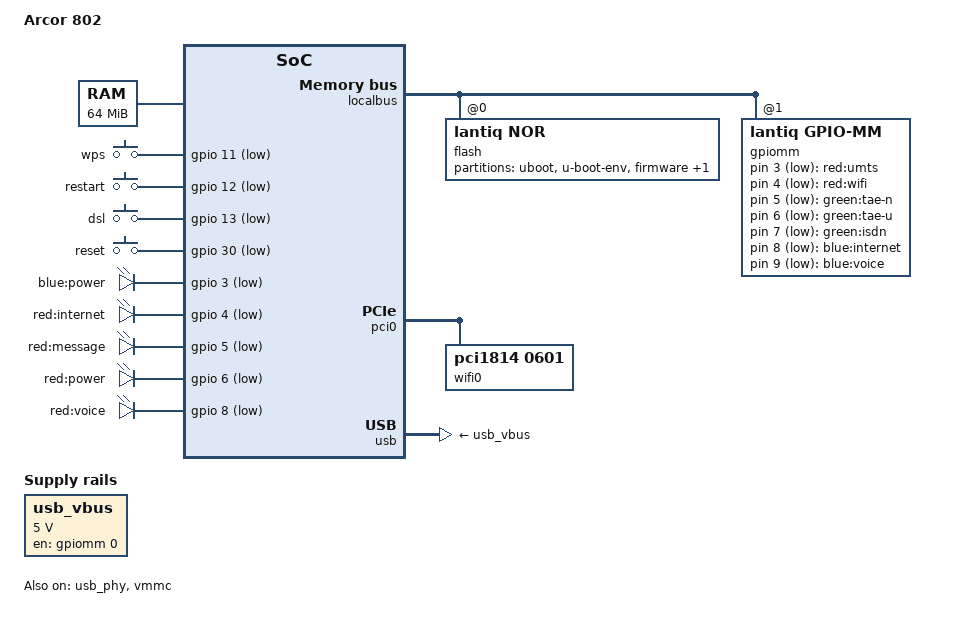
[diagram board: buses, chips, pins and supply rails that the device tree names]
#include "danube.dtsi"

#include <dt-bindings/input/input.h>

/ {
	compatible = "arcadyan,arv752dpw", "lantiq,xway", "lantiq,danube";
	model = "Arcor 802";

	chosen {
		bootargs = "console=ttyLTQ0,115200";
	};

	aliases {
		led-boot = &power_red;
		led-failsafe = &power_blue;
		led-running = &power_red;
		led-upgrade = &power_red;

		led-dsl = &internet_red;
		led-usb = &umts;
		led-wifi = &wifi;

		label-mac-device = &wifi0;
	};

	memory@0 {
		device_type = "memory";
		reg = <0x0 0x4000000>;
	};

	keys {
		compatible = "gpio-keys-polled";
		poll-interval = <100>;

		wps {
			label = "wps";
			gpios = <&gpio 11 GPIO_ACTIVE_LOW>;
			linux,code = <KEY_WPS_BUTTON>;
		};
		restart {
			label = "restart";
			gpios = <&gpio 12 GPIO_ACTIVE_LOW>;
			linux,code = <KEY_POWER>;
		};
		dsl {
			label = "dsl";
			gpios = <&gpio 13 GPIO_ACTIVE_LOW>;
			linux,code = <BTN_0>;
		};
		reset {
			label = "reset";
			gpios = <&gpio 30 GPIO_ACTIVE_LOW>;
			linux,code = <KEY_RESTART>;
		};
	};

	leds {
		compatible = "gpio-leds";
		power_blue: power1 {
			label = "blue:power";
			gpios = <&gpio 3 GPIO_ACTIVE_LOW>;
		};
		internet_red: internet {
			label = "red:internet";
			gpios = <&gpio 4 GPIO_ACTIVE_LOW>;
		};
		message {
			label = "red:message";
			gpios = <&gpio 5 GPIO_ACTIVE_LOW>;
		};
		power_red: power {
			label = "red:power";
			gpios = <&gpio 6 GPIO_ACTIVE_LOW>;
			default-state = "keep";
		};
		voice1 {
			label = "red:voice";
			gpios = <&gpio 8 GPIO_ACTIVE_LOW>;
		};
		umts: umts {
			label = "red:umts";
			gpios = <&gpiomm 3 GPIO_ACTIVE_LOW>;
		};
		wifi: wifi {
			label = "red:wifi";
			gpios = <&gpiomm 4 GPIO_ACTIVE_LOW>;
		};
		fxs1 {
			label = "green:tae-n";
			gpios = <&gpiomm 5 GPIO_ACTIVE_LOW>;
		};
		fxs2 {
			label = "green:tae-u";
			gpios = <&gpiomm 6 GPIO_ACTIVE_LOW>;
		};
		fxo {
			label = "green:isdn";
			gpios = <&gpiomm 7 GPIO_ACTIVE_LOW>;
		};
		internet2 {
			label = "blue:internet";
			gpios = <&gpiomm 8 GPIO_ACTIVE_LOW>;
		};
		voice2 {
			label = "blue:voice";
			gpios = <&gpiomm 9 GPIO_ACTIVE_LOW>;
		};
	};

	usb_vbus: regulator-usb-vbus {
		compatible = "regulator-fixed";

		regulator-name = "USB_VBUS";

		regulator-min-microvolt = <5000000>;
		regulator-max-microvolt = <5000000>;

		gpio = <&gpiomm 0 GPIO_ACTIVE_HIGH>;
		enable-active-high;
	};
};

&gpio {
	pinctrl-names = "default";
	pinctrl-0 = <&state_default>;

	state_default: pinmux {
		ebu {
			lantiq,groups = "ebu cs1";
			lantiq,function = "ebu";
		};
		exin {
			lantiq,groups = "exin1";
			lantiq,function = "exin";
			lantiq,pull = <2>;
			lantiq,output = <0>;
		};
		pci_rst {
			lantiq,pins = "io21";
			lantiq,pull = <2>;
			lantiq,output = <1>;
		};
		leds {
			lantiq,pins = "io3", "io5", "io6", "io8";
			lantiq,output = <1>;
			lantiq,pull = <0>;
		};
		keys {
			lantiq,pins = "io11", "io12", "io13", "io28";
			lantiq,output = <0>;
			lantiq,pull = <2>;
			lantiq,open-drain = <1>;
		};
	};
};

&gsw {
	phy-mode = "rmii";
	nvmem-cells = <&macaddr_boardconfig_16>;
	nvmem-cell-names = "mac-address";
};

&localbus {
	flash@0 {
		compatible = "lantiq,nor";
		bank-width = <2>;
		reg = <0 0x0 0x800000>;

		partitions {
			compatible = "fixed-partitions";
			#address-cells = <1>;
			#size-cells = <1>;

			partition@0 {
				label = "uboot";
				reg = <0x00000 0x10000>;
				read-only;
			};

			partition@10000 {
				label = "u-boot-env";
				reg = <0x10000 0x10000>;
				read-only;
			};

			partition@20000 {
				label = "firmware";
				reg = <0x20000 0x7d0000>;
			};

			boardconfig: partition@7f0000 {
				label = "board_config";
				reg = <0x7f0000 0x10000>;
				read-only;
			};
		};
	};

	gpiomm: gpio@1 {
		compatible = "lantiq,gpio-mm";
		reg = <1 0x0 0x10 >;
		#address-cells = <1>;
		#size-cells = <1>;
		#gpio-cells = <2>;
		gpio-controller;
		lantiq,shadow = <0x3>;
	};
};

&pci0 {
	status = "okay";

	pinctrl-0 = <&pci_gnt1_pins>, <&pci_req1_pins>, <&pci_req2_pins>;
	pinctrl-names = "default";

	lantiq,external-clock;
	gpio-reset = <&gpio 21 GPIO_ACTIVE_HIGH>;
	interrupt-map = <0x7000 0 0 1 &icu0 135>;
	req-mask = <0x3>;

	wifi0: wifi@1814,0601 {
		compatible = "pci1814,0601";
		reg = <0x7000 0 0 0 0>;
		nvmem-cells = <&macaddr_boardconfig_16>;
		nvmem-cell-names = "mac-address";
		ralink,mtd-eeprom = <&boardconfig 0x410>;
		ralink,mtd-eeprom-swap;
	};
};

&usb_phy {
	status = "okay";
};

&usb {
	status = "okay";
	vbus-supply = <&usb_vbus>;
};

&vmmc {
	status = "okay";
	gpios = <&gpiomm 1 GPIO_ACTIVE_HIGH>;
};

&boardconfig {
	compatible = "nvmem-cells";
	#address-cells = <1>;
	#size-cells = <1>;

	macaddr_boardconfig_16: macaddr@16 {
		reg = <0x16 0x6>;
	};
};
